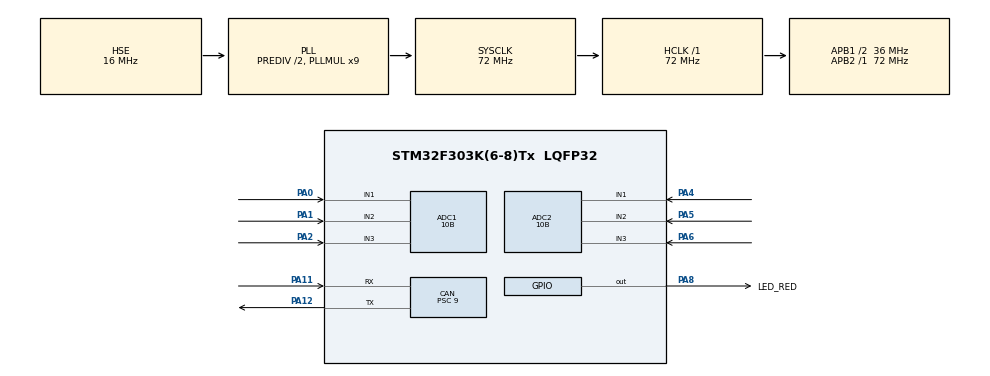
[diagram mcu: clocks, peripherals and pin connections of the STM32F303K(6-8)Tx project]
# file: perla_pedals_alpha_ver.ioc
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ADC1.Channel-0\#ChannelRegularConversion=ADC_CHANNEL_1
ADC1.Channel-1\#ChannelRegularConversion=ADC_CHANNEL_2
ADC1.Channel-2\#ChannelRegularConversion=ADC_CHANNEL_3
ADC1.ContinuousConvMode=ENABLE
ADC1.DMAContinuousRequests=ENABLE
ADC1.EOCSelection=ADC_EOC_SEQ_CONV
ADC1.NbrOfConversion=3
ADC1.NbrOfConversionFlag=1
ADC1.Offset-0\#ChannelRegularConversion=0
ADC1.Offset-1\#ChannelRegularConversion=0
ADC1.Offset-2\#ChannelRegularConversion=0
ADC1.OffsetNumber-0\#ChannelRegularConversion=ADC_OFFSET_NONE
ADC1.OffsetNumber-1\#ChannelRegularConversion=ADC_OFFSET_NONE
ADC1.OffsetNumber-2\#ChannelRegularConversion=ADC_OFFSET_NONE
ADC1.Rank-0\#ChannelRegularConversion=1
ADC1.Rank-1\#ChannelRegularConversion=2
ADC1.Rank-2\#ChannelRegularConversion=3
ADC1.Resolution=ADC_RESOLUTION_10B
ADC1.SamplingTime-0\#ChannelRegularConversion=ADC_SAMPLETIME_601CYCLES_5
ADC1.SamplingTime-1\#ChannelRegularConversion=ADC_SAMPLETIME_601CYCLES_5
ADC1.SamplingTime-2\#ChannelRegularConversion=ADC_SAMPLETIME_601CYCLES_5
ADC1.SamplingTimeOPAMP-1\#ChannelRegularConversion=ADC_SAMPLETIME_2CYCLES_5
ADC1.SamplingTimeOPAMP-2\#ChannelRegularConversion=ADC_SAMPLETIME_2CYCLES_5
ADC1.SubFamily=STM32F303x8
ADC1.master=1
ADC2.Channel-0\#ChannelRegularConversion=ADC_CHANNEL_1
ADC2.Channel-1\#ChannelRegularConversion=ADC_CHANNEL_2
ADC2.Channel-2\#ChannelRegularConversion=ADC_CHANNEL_3
ADC2.ContinuousConvMode=ENABLE
ADC2.DMAContinuousRequests=ENABLE
ADC2.DiscontinuousConvMode=DISABLE
ADC2.EOCSelection=ADC_EOC_SEQ_CONV
ADC2.NbrOfConversion=3
ADC2.NbrOfConversionFlag=1
ADC2.Offset-0\#ChannelRegularConversion=0
ADC2.Offset-1\#ChannelRegularConversion=0
ADC2.Offset-2\#ChannelRegularConversion=0
ADC2.OffsetNumber-0\#ChannelRegularConversion=ADC_OFFSET_NONE
ADC2.OffsetNumber-1\#ChannelRegularConversion=ADC_OFFSET_NONE
ADC2.OffsetNumber-2\#ChannelRegularConversion=ADC_OFFSET_NONE
ADC2.Rank-0\#ChannelRegularConversion=1
ADC2.Rank-1\#ChannelRegularConversion=2
ADC2.Rank-2\#ChannelRegularConversion=3
ADC2.Resolution=ADC_RESOLUTION_10B
ADC2.SamplingTime-0\#ChannelRegularConversion=ADC_SAMPLETIME_601CYCLES_5
ADC2.SamplingTime-1\#ChannelRegularConversion=ADC_SAMPLETIME_601CYCLES_5
ADC2.SamplingTime-2\#ChannelRegularConversion=ADC_SAMPLETIME_601CYCLES_5
ADC2.SamplingTimeOPAMP-1\#ChannelRegularConversion=ADC_SAMPLETIME_2CYCLES_5
ADC2.SamplingTimeOPAMP-2\#ChannelRegularConversion=ADC_SAMPLETIME_2CYCLES_5
ADC2.SubFamily=STM32F303x8
CAN.BS1=CAN_BS1_6TQ
CAN.CalculateBaudRate=500000
CAN.CalculateTimeBit=2000
CAN.CalculateTimeQuantum=250.0
CAN.Mode=CAN_MODE_NORMAL
CAN.NART=ENABLE
CAN.Prescaler=9
Dma.ADC1.1.Direction=DMA_PERIPH_TO_MEMORY
Dma.ADC1.1.Instance=DMA1_Channel1
Dma.ADC1.1.MemDataAlignment=DMA_MDATAALIGN_HALFWORD
Dma.ADC1.1.MemInc=DMA_MINC_ENABLE
Dma.ADC1.1.Mode=DMA_CIRCULAR
Dma.ADC1.1.PeriphDataAlignment=DMA_PDATAALIGN_HALFWORD
Dma.ADC1.1.PeriphInc=DMA_PINC_DISABLE
Dma.ADC1.1.Priority=DMA_PRIORITY_LOW
Dma.ADC2.0.Direction=DMA_PERIPH_TO_MEMORY
Dma.ADC2.0.Instance=DMA1_Channel2
Dma.ADC2.0.MemDataAlignment=DMA_MDATAALIGN_HALFWORD
Dma.ADC2.0.MemInc=DMA_MINC_ENABLE
Dma.ADC2.0.Mode=DMA_CIRCULAR
Dma.ADC2.0.PeriphDataAlignment=DMA_PDATAALIGN_HALFWORD
Dma.ADC2.0.PeriphInc=DMA_PINC_DISABLE
Dma.ADC2.0.Priority=DMA_PRIORITY_LOW
Dma.Request0=ADC2
Dma.Request1=ADC1
Mcu.Family=STM32F3
Mcu.Name=STM32F303K(6-8)Tx
Mcu.Package=LQFP32
NVIC.CAN_RX0_IRQn=true\:0\:0\:false\:false\:true\:true\:true\:true
NVIC.DMA1_Channel1_IRQn=true\:0\:0\:false\:false\:true\:false\:true\:true
NVIC.DMA1_Channel2_IRQn=true\:0\:0\:false\:false\:true\:false\:true\:true
NVIC.PriorityGroup=NVIC_PRIORITYGROUP_4
NVIC.TIM2_IRQn=true\:0\:0\:false\:false\:true\:true\:true\:true
PA0.Mode=IN1-Single-Ended
PA0.Signal=ADC1_IN1
PA1.Mode=IN2-Single-Ended
PA1.Signal=ADC1_IN2
PA11.Mode=CAN_Activate
PA11.Signal=CAN_RX
PA12.Mode=CAN_Activate
PA12.Signal=CAN_TX
PA13.Mode=Serial_Wire
PA13.Signal=SYS_JTMS-SWDIO
PA14.Mode=Serial_Wire
PA14.Signal=SYS_JTCK-SWCLK
PA2.Mode=IN3-Single-Ended
PA2.Signal=ADC1_IN3
PA4.Mode=IN1-Single-Ended
PA4.Signal=ADC2_IN1
PA5.Mode=IN2-Single-Ended
PA5.Signal=ADC2_IN2
PA6.Mode=IN3-Single-Ended
PA6.Signal=ADC2_IN3
PA8.GPIO_Label=LED_RED
PA8.Signal=GPIO_Output
PF0\ /\ OSC_IN.Mode=HSE-External-Clock-Source
PF0\ /\ OSC_IN.Signal=RCC_OSC_IN
ProjectManager.HeapSize=0x200
ProjectManager.StackSize=0x400
ProjectManager.TargetToolchain=STM32CubeIDE
RCC.ADC12PRES=RCC_ADC12PLLCLK_DIV4
RCC.AHBFreq_Value=72000000
RCC.APB1CLKDivider=RCC_HCLK_DIV2
RCC.APB1Freq_Value=36000000
RCC.APB1TimFreq_Value=72000000
RCC.APB2Freq_Value=72000000
RCC.APB2TimFreq_Value=72000000
RCC.CortexFreq_Value=72000000
RCC.HCLKFreq_Value=72000000
RCC.HSE_VALUE=16000000
RCC.HSI_VALUE=8000000
RCC.PLLMUL=RCC_PLL_MUL9
RCC.PLLSourceVirtual=RCC_PLLSOURCE_HSE
RCC.RCC_PLLsource_Clock_Source_FROM_HSE=RCC_HSE_PREDIV_DIV2
RCC.SYSCLKFreq_VALUE=72000000
RCC.SYSCLKSourceVirtual=RCC_SYSCLKSOURCE_PLLCLK
TIM2.AutoReloadPreload=TIM_AUTORELOAD_PRELOAD_ENABLE
TIM2.Period=999
TIM2.Prescaler=6399
VP_TIM2_VS_ClockSourceINT.Mode=Internal
board=custom

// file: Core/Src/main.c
/* USER CODE BEGIN Header */
/**
  ******************************************************************************
  * @file           : main.c
  * @brief          : Main program body
  ******************************************************************************
  * @attention
  *
  * Copyright (c) 2026 STMicroelectronics.
  * All rights reserved.
  *
  * This software is licensed under terms that can be found in the LICENSE file
  * in the root directory of this software component.
  * If no LICENSE file comes with this software, it is provided AS-IS.
  *
  ******************************************************************************
  */
/* USER CODE END Header */
#include "main.h"
#include "adc.h"
#include "can.h"
#include "dma.h"
#include "tim.h"
#include "gpio.h"

/* USER CODE BEGIN Includes */
#include "vehicle_types.h"
#include "can_bus.h"
#include "engine_control.h"
#include "vehicle_fsm.h"
#include "pedals_const_val.h"
#include "sensors.h"

/* @brief Used EKO drivers. */
#include "error_handler.h"
#include "can_driver.h"
#include "led_driver.h"
/* USER CODE END Includes */

/* USER CODE BEGIN PV */

/** @brief Structure used to initialize CAN driver */
struct CAN_scheduledMsgList canScheduler = {0};

/** @brief Global Error Handler Object */
EH_HandleTypeDef heh;

struct LED statusLed = {
		.GPIO_Port = LED_RED_GPIO_Port,
		.GPIO_Pin = LED_RED_Pin
};

extern TIM_HandleTypeDef htim2;

/* USER CODE END PV */

void SystemClock_Config(void);

int main(void)
{

  /* MCU Configuration--------------------------------------------------------*/

  /* Reset of all peripherals, Initializes the Flash interface and the Systick. */
  HAL_Init();

  /* Configure the system clock */
  SystemClock_Config();

  /* Initialize all configured peripherals */
  MX_GPIO_Init();
  MX_DMA_Init();
  MX_ADC2_Init();
  MX_CAN_Init();
  MX_ADC1_Init();
  MX_TIM2_Init();
  /* USER CODE BEGIN 2 */

  /* @brief Timer 2 initialization. */

  if (HAL_TIM_Base_Start_IT(&htim2) != HAL_OK)
	{
	Error_Handler();
	}

  /* @brief DMA initialization for ADC2. */

  if (HAL_ADC_Start_DMA(&hadc2, (uint32_t*)ADC2_DMA_Buff, 3 * ADC_SAMPLES) != HAL_OK)
	{
	Error_Handler();
	}

  /* @brief DMA initialization for ADC1. */

  if(HAL_ADC_Start_DMA(&hadc1, (uint32_t*)ADC1_DMA_Buff, 3 * ADC_SAMPLES) != HAL_OK)
	{
	Error_Handler();
	}

	/* @brief Custom CAN filters initialization. (NOT FROM EKO CAN Driver)  */
	CAN_Custom_Init(&hcan);

	/* @brief Error handler initialization. */
	EH_init(&heh, &hcan, 64, &canScheduler);

	LED_ChangeState(&statusLed, LED_BLINK);

  /* USER CODE END 2 */

  /* Infinite loop */
  /* USER CODE BEGIN WHILE */

/*  @brief Main infinite loop.*/
  while (1)
  {
	  /* @brief Turning on CAN scheduler from EKO CAN Driver. */
	  CAN_HandleScheduled(&hcan, &canScheduler);

	  /* @brief Processing of CAN frames buffered in the RX interrupt. */
	  CAN_ProcessIncoming();

	  /* @brief ADC data processing.*/
	  Process_ADC_Buffers();

	  /* @brief Execute vehicle logic. */
	  stateActions();

	  Vehicle.Pedals.Steer = Get_SteeringValue();
  }

    /* USER CODE END WHILE */

}

void SystemClock_Config(void)
{
  RCC_OscInitTypeDef RCC_OscInitStruct = {0};
  RCC_ClkInitTypeDef RCC_ClkInitStruct = {0};
  RCC_PeriphCLKInitTypeDef PeriphClkInit = {0};

  /** Initializes the RCC Oscillators according to the specified parameters
  * in the RCC_OscInitTypeDef structure.
  */
  RCC_OscInitStruct.OscillatorType = RCC_OSCILLATORTYPE_HSE;
  RCC_OscInitStruct.HSEState = RCC_HSE_BYPASS;
  RCC_OscInitStruct.HSEPredivValue = RCC_HSE_PREDIV_DIV2;
  RCC_OscInitStruct.HSIState = RCC_HSI_ON;
  RCC_OscInitStruct.PLL.PLLState = RCC_PLL_ON;
  RCC_OscInitStruct.PLL.PLLSource = RCC_PLLSOURCE_HSE;
  RCC_OscInitStruct.PLL.PLLMUL = RCC_PLL_MUL9;
  if (HAL_RCC_OscConfig(&RCC_OscInitStruct) != HAL_OK)
  {
    Error_Handler();
  }

  /** Initializes the CPU, AHB and APB buses clocks
  */
  RCC_ClkInitStruct.ClockType = RCC_CLOCKTYPE_HCLK|RCC_CLOCKTYPE_SYSCLK
                              |RCC_CLOCKTYPE_PCLK1|RCC_CLOCKTYPE_PCLK2;
  RCC_ClkInitStruct.SYSCLKSource = RCC_SYSCLKSOURCE_PLLCLK;
  RCC_ClkInitStruct.AHBCLKDivider = RCC_SYSCLK_DIV1;
  RCC_ClkInitStruct.APB1CLKDivider = RCC_HCLK_DIV2;
  RCC_ClkInitStruct.APB2CLKDivider = RCC_HCLK_DIV1;

  if (HAL_RCC_ClockConfig(&RCC_ClkInitStruct, FLASH_LATENCY_2) != HAL_OK)
  {
    Error_Handler();
  }
  PeriphClkInit.PeriphClockSelection = RCC_PERIPHCLK_ADC12;
  PeriphClkInit.Adc12ClockSelection = RCC_ADC12PLLCLK_DIV4;
  if (HAL_RCCEx_PeriphCLKConfig(&PeriphClkInit) != HAL_OK)
  {
    Error_Handler();
  }
}

/* USER CODE BEGIN 4 */

/**
  * @brief  Period Elapsed Callback (System Watchdog).
  * @details Executed by TIM2 interrupt.
  * Performs safety checks:
  * 1. **LED Status**: Indicates Charging status.
  * 2. **PRND Watchdog**: If no frame received for 3000ms -> Shift to neutral gear & Error LED.
  * 3. **Wheel Speed Watchdog**: If no frame received for 1000ms -> Shift to neutral gear & Error LED.
  * 3. **Jetson Watchdog**: If no frame received for 1000ms -> Reset Jetson Data & Flag.
  * * @param  htim Pointer to TIM handle.
  */

void HAL_TIM_PeriodElapsedCallback(TIM_HandleTypeDef *htim)
{
    if (htim->Instance == TIM2)
    {
        uint32_t now = HAL_GetTick();

        /* @brief After 3 seconds from the last received PRND */
        uint32_t timeout = 3000;

        /* @brief After 1 second from the last received Wheel Speed */
        uint32_t timeoutWheelSpeed = 1000;

        // Checking rear left wheel speed (ID 0x6A1)
        bool isWheelSpeedRLTimeout = (now - Vehicle.WheelSpeed.LastMsgTickRL > timeoutWheelSpeed);

        // Checking rear right wheel speed (ID 0x681)
        bool isWheelSpeedRRTimeout = (now - Vehicle.WheelSpeed.LastMsgTickRR > timeoutWheelSpeed);

        /*
        bool isChargerTimeout = (now - Vehicle.Charger.LastMsgTick > timeout);

        // --- 1. WATCHDOG (Connection error) ---
        if (isChargerTimeout)
        {
            // Safety logic
            Vehicle.Charger.IsConnected = false;
            Vehicle.Charger.RawStatus = STOP_CHARGING;

            if (getEngineFlag() == 1 || getEngineFlag() == 0)
			{
				stopEngine();
				setEngineFlag(ENGINE_STOP_NEUTRAL);
			}

            // LED TOGGLE signaling error
            const uint32_t interval = 100;
            static uint32_t lastTick = 0;

            if (now - lastTick >= interval)
            {
                HAL_GPIO_TogglePin(LED_RED_GPIO_Port, LED_RED_Pin);
                lastTick = now;
            }
        }
        */

        // na razie ramka prnd jest wysyłana onEvent
//        bool isPRNDTimeout = (now - Vehicle.PRND.LastMsgTick > timeout);
        bool isPRNDTimeout = 0;

		// --- 1. WATCHDOG (Connection error) ---
		if (isPRNDTimeout || isWheelSpeedRLTimeout || isWheelSpeedRRTimeout)
		{
      /*
      if (isPRNDTimeout) {
			  EH_report(&heh, 0x100, ERROR_SEVERITY_ERROR);
      }

      if (isWheelSpeedFLTimeout) {
        EH_report(&heh, 0x101, ERROR_SEVERITY_ERROR);
      }
      if (isWheelSpeedFRTimeout) {
        EH_report(&heh, 0x102, ERROR_SEVERITY_ERROR);
      }
      if (isWheelSpeedRLTimeout) {
        EH_report(&heh, 0x103, ERROR_SEVERITY_ERROR);
      }
      if (isWheelSpeedRRTimeout) {
        EH_report(&heh, 0x104, ERROR_SEVERITY_ERROR);
      }

			// Safety logic
			Vehicle.PRND.IsConnected = false;
			Vehicle.PRND.RawStatus = NEUTRAL_GEAR;

      Vehicle.WheelSpeed.IsConnectedFL = false;
      Vehicle.WheelSpeed.IsConnectedFR = false;
      Vehicle.WheelSpeed.IsConnectedRL = false;
      Vehicle.WheelSpeed.IsConnectedRR = false;

			if (getEngineFlag() != ENGINE_STOP_NEUTRAL)
			{
				neutralEngine();
				setEngineFlag(ENGINE_STOP_NEUTRAL);
			}
*/
			// -------- Beginning of LED area ---------

			// Visually signaling no connection with PRND

			if (statusLed.state != LED_FAST_BLINK)
			{
				statusLed.state = LED_FAST_BLINK;
			}

			LED_Handle(&statusLed);

			// -------- End of LED area ---------

		}
        // --- 2. No error detected - normal state ---
        else
        {
            // Executes only when no timeout detected

        	/*
        	// SIGNALING CHARGING
            if (Vehicle.Charger.RawStatus == START_CHARGING)
            {
                 HAL_GPIO_WritePin(LED_RED_GPIO_Port, LED_RED_Pin, 1);
            }
            else // SIGNALING STOP CHARGING
            {
                 HAL_GPIO_WritePin(LED_RED_GPIO_Port, LED_RED_Pin, 0);
            }
            */

        	/* @brief Clearing the no connection with PRND error. */
        	// EH_clear(&heh, 0x100);

          // Clearing the no connection with Wheel Speed error.
          // EH_clear(&heh, 0x101);
          // EH_clear(&heh, 0x102);
          // EH_clear(&heh, 0x103);
          // EH_clear(&heh, 0x104);

			// -------- Beginning of LED area ---------

			// Signaling connection with PRND

			if (statusLed.state != LED_BLINK)
			{
				statusLed.state = LED_BLINK;
			}

			LED_Handle(&statusLed);

			// -------- End of LED area ---------

        }
		// JETSON currently not used
		/*
        // --- JETSON WATCHDOG ---
        if (now - Vehicle.Jetson.LastMsgTick > timeout) {
            Vehicle.Jetson.IsConnected = false;
            // Safety Fail-safe: Clear stale data to prevent unintended behavior.
            // IN OTHER WORDS: Prevent "ghost" inputs. If connection is lost, we must not execute the last received command forever.
           // memset((void*)Vehicle.Jetson.RawData, 0, 8);		//clears the data received from Jetson
        }
        */
    }
}

/* USER CODE END 4 */

void Error_Handler(void)
{
  /* USER CODE BEGIN Error_Handler_Debug */
  /* User can add his own implementation to report the HAL error return state */
  __disable_irq();
  while (1)
  {
	  ;
  }
  /* USER CODE END Error_Handler_Debug */
}
